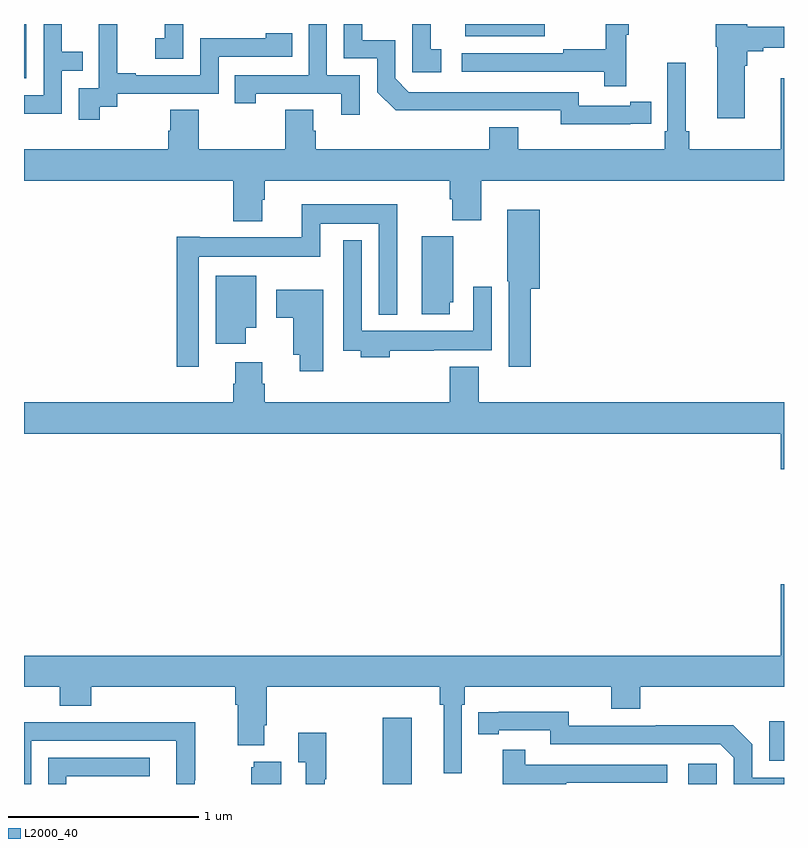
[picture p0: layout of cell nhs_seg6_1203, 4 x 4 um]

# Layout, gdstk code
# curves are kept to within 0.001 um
import gdstk
lib = gdstk.Library(unit=1e-6, precision=1e-09)
def R(c, l, rs):  # rectangles x0, y0, x1, y1
    for r in rs: c.add(gdstk.rectangle(r[:2], r[2:], *l))
def P(c, l, *ps):  # polygons
    for p in ps: c.add(gdstk.Polygon(p, *l))
L2000_40 = (2000, 40)

nhs_seg6_1203 = lib.new_cell('nhs_seg6_1203')
R(nhs_seg6_1203, L2000_40, [(186.889,937.5,187.042,937.849), (188.496,937.5,188.646,937.606), (188.922,937.623,189,937.831), (185,941.214,185.013,941.5), (187.322,941.435,187.741,941.5)])
P(nhs_seg6_1203, L2000_40, [(188.794,941.279),(188.807,941.279),(188.807,941.356),(188.89,941.356),(188.89,941.375),(189,941.375),(189,941.485),(188.807,941.485),(188.807,941.5),(188.641,941.5),(188.641,941.379),(188.648,941.379),(188.648,941.004),(188.794,941.004)],
  [(188.171,941.443),(188.182,941.443),(188.182,941.5),(188.061,941.5),(188.061,941.366),(187.837,941.366),(187.837,941.346),(187.305,941.346),(187.305,941.25),(188.053,941.25),(188.053,941.172),(188.171,941.172)],
  [(187.195,941.367),(187.142,941.367),(187.142,941.5),(187.044,941.5),(187.044,941.247),(187.195,941.247)],
  [(185.199,941.253),(185.309,941.253),(185.309,941.354),(185.199,941.354),(185.199,941.5),(185.103,941.5),(185.103,941.124),(185,941.124),(185,941.028),(185.199,941.028)],
  [(188.192,940.974),(188.3,940.974),(188.3,941.09),(188.192,941.09),(188.192,941.07),(187.92,941.07),(187.92,941.142),(187.026,941.142),(186.954,941.214),(186.954,941.415),(186.781,941.415),(186.781,941.5),(186.684,941.5),(186.684,941.319),(186.858,941.319),(186.858,941.142),(186.956,941.045),(187.824,941.046),(187.824,940.973)],
  [(185.398,941.065),(185.49,941.065),(185.49,941.133),(186.024,941.133),(186.024,941.328),(186.413,941.328),(186.413,941.451),(186.273,941.451),(186.273,941.424),(185.928,941.424),(185.928,941.229),(185.587,941.229),(185.587,941.242),(185.492,941.242),(185.492,941.5),(185.393,941.5),(185.393,941.393),(185.394,941.393),(185.394,941.163),(185.289,941.163),(185.289,940.995),(185.398,940.995)],
  [(185.838,941.5),(185.74,941.5),(185.74,941.425),(185.691,941.425),(185.691,941.316),(185.838,941.316)],
  [(186.768,941.229),(186.594,941.229),(186.594,941.5),(186.498,941.5),(186.498,941.229),(186.109,941.229),(186.109,941.082),(186.22,941.082),(186.22,941.133),(186.671,941.133),(186.671,941.022),(186.768,941.022)],
  [(189,941.215),(188.984,941.215),(188.984,940.84),(188.501,940.84),(188.501,940.936),(188.482,940.936),(188.482,941.296),(188.385,941.296),(188.385,940.936),(188.372,940.936),(188.372,940.84),(187.6,940.84),(187.6,940.957),(187.448,940.957),(187.448,940.84),(186.536,940.84),(186.536,940.938),(186.523,940.938),(186.523,941.048),(186.376,941.048),(186.376,940.84),(185.919,940.84),(185.919,941.048),(185.771,941.048),(185.771,940.938),(185.759,940.938),(185.759,940.84),(185,940.84),(185,940.676),(186.101,940.676),(186.101,940.463),(186.253,940.463),(186.253,940.575),(186.266,940.575),(186.266,940.676),(187.241,940.676),(187.241,940.577),(187.253,940.577),(187.253,940.468),(187.406,940.468),(187.406,940.676),(189,940.676)],
  [(185.919,940.274),(186.558,940.274),(186.558,940.448),(186.867,940.448),(186.867,939.971),(186.964,939.971),(186.964,940.552),(186.461,940.552),(186.461,940.378),(185.926,940.378),(185.926,940.381),(185.803,940.381),(185.803,939.696),(185.919,939.696)],
  [(187.667,940.106),(187.715,940.106),(187.715,940.522),(187.544,940.522),(187.544,940.146),(187.551,940.146),(187.551,939.696),(187.667,939.696)],
  [(187.24,940.035),(187.258,940.035),(187.258,940.383),(187.094,940.383),(187.094,939.972),(187.24,939.972)],
  [(186.926,939.78),(187.157,939.78),(187.157,939.782),(187.461,939.782),(187.461,940.117),(187.365,940.117),(187.365,939.886),(186.777,939.886),(186.777,940.363),(186.681,940.363),(186.681,939.78),(186.773,939.78),(186.773,939.746),(186.926,939.746)],
  [(186.166,939.902),(186.223,939.902),(186.223,940.174),(186.008,940.174),(186.008,939.816),(186.166,939.816)],
  [(186.574,940.102),(186.327,940.102),(186.327,939.955),(186.416,939.955),(186.416,939.758),(186.452,939.758),(186.452,939.672),(186.574,939.672)],
  [(189,939.508),(187.393,939.508),(187.393,939.697),(187.241,939.697),(187.241,939.508),(186.266,939.508),(186.266,939.606),(186.253,939.606),(186.253,939.721),(186.113,939.721),(186.113,939.606),(186.101,939.606),(186.101,939.508),(185,939.508),(185,939.344),(188.984,939.344),(188.984,939.156),(189,939.156)],
  [(185,938.012),(185.189,938.012),(185.189,937.913),(185.354,937.913),(185.354,938.012),(186.113,938.012),(186.113,937.916),(186.125,937.916),(186.125,937.703),(186.265,937.703),(186.265,937.81),(186.278,937.81),(186.278,938.012),(187.189,938.012),(187.189,937.916),(187.208,937.916),(187.208,937.557),(187.305,937.557),(187.305,937.916),(187.319,937.916),(187.319,938.012),(188.09,938.012),(188.09,937.895),(188.243,937.895),(188.243,938.012),(189,938.012),(189,938.551),(188.984,938.551),(188.984,938.176),(185,938.176)],
  [(189,937.533),(188.832,937.533),(188.832,937.71),(188.734,937.808),(188.326,937.808),(188.326,937.806),(187.866,937.806),(187.866,937.879),(187.39,937.878),(187.39,937.762),(187.498,937.762),(187.498,937.782),(187.77,937.782),(187.77,937.71),(188.664,937.71),(188.736,937.638),(188.736,937.5),(189,937.5)],
  [(185.037,937.728),(185.802,937.728),(185.802,937.5),(185.898,937.5),(185.898,937.519),(185.901,937.519),(185.901,937.826),(185.437,937.826),(185.437,937.824),(185,937.824),(185,937.5),(185.037,937.5)],
  [(186.584,937.526),(186.592,937.526),(186.592,937.771),(186.443,937.771),(186.443,937.615),(186.483,937.615),(186.483,937.5),(186.584,937.5)],
  [(187.853,937.506),(188.386,937.506),(188.386,937.602),(187.637,937.602),(187.637,937.681),(187.52,937.681),(187.52,937.5),(187.853,937.5)],
  [(185.223,937.542),(185.662,937.542),(185.662,937.638),(185.127,937.638),(185.127,937.5),(185.223,937.5)],
  [(186.355,937.618),(186.209,937.618),(186.209,937.587),(186.197,937.587),(186.197,937.5),(186.355,937.5)])

lib.write_gds('nhs_seg6_1203.gds')
